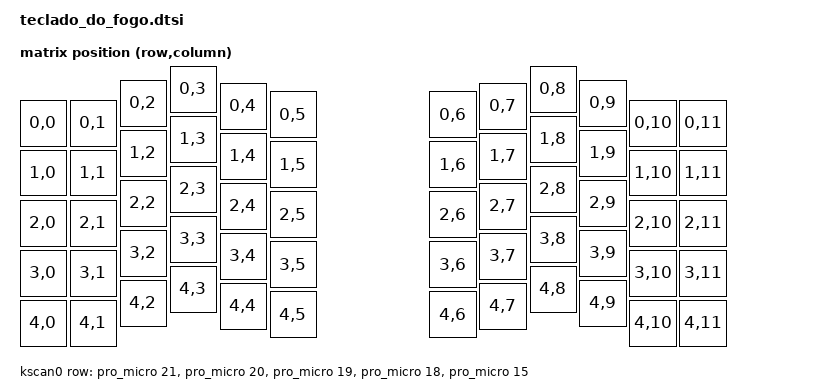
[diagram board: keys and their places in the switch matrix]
#include <physical_layouts.dtsi>
#include <dt-bindings/zmk/matrix_transform.h>

/ {
    chosen {
        zmk,kscan = &kscan0;
        zmk,physical-layout = &physical_layout0;
    };

    default_transform: keymap_transform_0 {
        compatible = "zmk,matrix-transform";
        columns = <12>;
        rows = <5>;
        map = <
RC(0,0) RC(0,1) RC(0,2) RC(0,3) RC(0,4) RC(0,5)    RC(0,6) RC(0,7) RC(0,8) RC(0,9) RC(0,10) RC(0,11)
RC(1,0) RC(1,1) RC(1,2) RC(1,3) RC(1,4) RC(1,5)    RC(1,6) RC(1,7) RC(1,8) RC(1,9) RC(1,10) RC(1,11)
RC(2,0) RC(2,1) RC(2,2) RC(2,3) RC(2,4) RC(2,5)    RC(2,6) RC(2,7) RC(2,8) RC(2,9) RC(2,10) RC(2,11)
RC(3,0) RC(3,1) RC(3,2) RC(3,3) RC(3,4) RC(3,5)    RC(3,6) RC(3,7) RC(3,8) RC(3,9) RC(3,10) RC(3,11)
RC(4,0) RC(4,1) RC(4,2) RC(4,3) RC(4,4) RC(4,5)    RC(4,6) RC(4,7) RC(4,8) RC(4,9) RC(4,10) RC(4,11)
        >;
    };

    // Posições reais (unidade = 1/100 de tecla), derivadas do stagger do ergogen/config.yaml:
    // colunas da esquerda (externa -> interna) com y = [68, 68, 28, 0, 34, 51] (pitch vertical 17,75 mm); lado direito espelhado.
    physical_layout0: physical_layout_0 {
        compatible = "zmk,physical-layout";
        display-name = "Teclado do Fogo";
        transform = <&default_transform>;
        kscan = <&kscan0>;
        keys  //                     w   h    x   y rot rx ry
            = <&key_physical_attrs 100 100    0  68 0 0 0>
            , <&key_physical_attrs 100 100  100  68 0 0 0>
            , <&key_physical_attrs 100 100  200  28 0 0 0>
            , <&key_physical_attrs 100 100  300   0 0 0 0>
            , <&key_physical_attrs 100 100  400  34 0 0 0>
            , <&key_physical_attrs 100 100  500  51 0 0 0>
            , <&key_physical_attrs 100 100  820  51 0 0 0>
            , <&key_physical_attrs 100 100  920  34 0 0 0>
            , <&key_physical_attrs 100 100 1020   0 0 0 0>
            , <&key_physical_attrs 100 100 1120  28 0 0 0>
            , <&key_physical_attrs 100 100 1220  68 0 0 0>
            , <&key_physical_attrs 100 100 1320  68 0 0 0>
            , <&key_physical_attrs 100 100    0 168 0 0 0>
            , <&key_physical_attrs 100 100  100 168 0 0 0>
            , <&key_physical_attrs 100 100  200 128 0 0 0>
            , <&key_physical_attrs 100 100  300 100 0 0 0>
            , <&key_physical_attrs 100 100  400 134 0 0 0>
            , <&key_physical_attrs 100 100  500 151 0 0 0>
            , <&key_physical_attrs 100 100  820 151 0 0 0>
            , <&key_physical_attrs 100 100  920 134 0 0 0>
            , <&key_physical_attrs 100 100 1020 100 0 0 0>
            , <&key_physical_attrs 100 100 1120 128 0 0 0>
            , <&key_physical_attrs 100 100 1220 168 0 0 0>
            , <&key_physical_attrs 100 100 1320 168 0 0 0>
            , <&key_physical_attrs 100 100    0 268 0 0 0>
            , <&key_physical_attrs 100 100  100 268 0 0 0>
            , <&key_physical_attrs 100 100  200 228 0 0 0>
            , <&key_physical_attrs 100 100  300 200 0 0 0>
            , <&key_physical_attrs 100 100  400 234 0 0 0>
            , <&key_physical_attrs 100 100  500 251 0 0 0>
            , <&key_physical_attrs 100 100  820 251 0 0 0>
            , <&key_physical_attrs 100 100  920 234 0 0 0>
            , <&key_physical_attrs 100 100 1020 200 0 0 0>
            , <&key_physical_attrs 100 100 1120 228 0 0 0>
            , <&key_physical_attrs 100 100 1220 268 0 0 0>
            , <&key_physical_attrs 100 100 1320 268 0 0 0>
            , <&key_physical_attrs 100 100    0 368 0 0 0>
            , <&key_physical_attrs 100 100  100 368 0 0 0>
            , <&key_physical_attrs 100 100  200 328 0 0 0>
            , <&key_physical_attrs 100 100  300 300 0 0 0>
            , <&key_physical_attrs 100 100  400 334 0 0 0>
            , <&key_physical_attrs 100 100  500 351 0 0 0>
            , <&key_physical_attrs 100 100  820 351 0 0 0>
            , <&key_physical_attrs 100 100  920 334 0 0 0>
            , <&key_physical_attrs 100 100 1020 300 0 0 0>
            , <&key_physical_attrs 100 100 1120 328 0 0 0>
            , <&key_physical_attrs 100 100 1220 368 0 0 0>
            , <&key_physical_attrs 100 100 1320 368 0 0 0>
            , <&key_physical_attrs 100 100    0 468 0 0 0>
            , <&key_physical_attrs 100 100  100 468 0 0 0>
            , <&key_physical_attrs 100 100  200 428 0 0 0>
            , <&key_physical_attrs 100 100  300 400 0 0 0>
            , <&key_physical_attrs 100 100  400 434 0 0 0>
            , <&key_physical_attrs 100 100  500 451 0 0 0>
            , <&key_physical_attrs 100 100  820 451 0 0 0>
            , <&key_physical_attrs 100 100  920 434 0 0 0>
            , <&key_physical_attrs 100 100 1020 400 0 0 0>
            , <&key_physical_attrs 100 100 1120 428 0 0 0>
            , <&key_physical_attrs 100 100 1220 468 0 0 0>
            , <&key_physical_attrs 100 100 1320 468 0 0 0>
            ;
    };

    kscan0: kscan {
        compatible = "zmk,kscan-gpio-matrix";
        wakeup-source;
        diode-direction = "col2row";
        row-gpios
            = <&pro_micro 21 (GPIO_ACTIVE_HIGH | GPIO_PULL_DOWN)> // linha num    (P0.31)
            , <&pro_micro 20 (GPIO_ACTIVE_HIGH | GPIO_PULL_DOWN)> // linha top    (P0.29)
            , <&pro_micro 19 (GPIO_ACTIVE_HIGH | GPIO_PULL_DOWN)> // linha home   (P0.02)
            , <&pro_micro 18 (GPIO_ACTIVE_HIGH | GPIO_PULL_DOWN)> // linha bottom (P1.15)
            , <&pro_micro 15 (GPIO_ACTIVE_HIGH | GPIO_PULL_DOWN)> // linha mod    (P1.13)
            ;
    };
};
